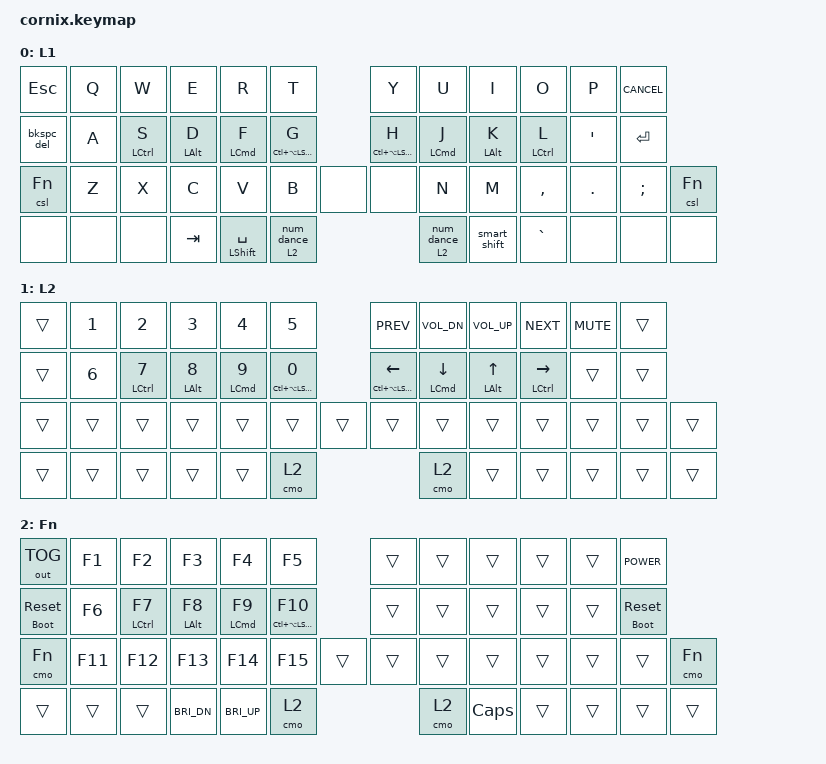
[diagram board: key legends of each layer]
/*
 * Copyright (c) 2020 The ZMK Contributors
 *
 * SPDX-License-Identifier: MIT
 *
 * Knucklehead keymap for Cornix 48-key keyboard (QWERTY)
 * Based on https://github.com/minusfive/knucklehead
 * Adapted for Cornix 4x12 layout
 */

#include <behaviors.dtsi>
#include <behaviors/num_word.dtsi>
#include <dt-bindings/zmk/keys.h>
#include <dt-bindings/zmk/bt.h>
#include <dt-bindings/zmk/outputs.h>

// Layer definitions
#define L1 0
#define L2 1
#define Fn 2

// Key position groups for home row mods (48 keys: 4 rows x 12 cols)
// Row 0: 0-11, Row 1: 12-23, Row 2: 24-35, Row 3: 36-47
#define KEYS_L 0 1 2 3 4 5 12 13 14 15 16 17 24 25 26 27 28 29 36 37 38 39 40 41
#define KEYS_R 6 7 8 9 10 11 18 19 20 21 22 23 30 31 32 33 34 35 42 43 44 45 46 47
#define THUMBS 38 39 40 41 42 43 44 45

// Timing settings
#define TAPPING_TERM_MS 280
#define QUICK_TAP_MS 175
#define REQUIRE_PRIOR_IDLE_MS 150
#define COMBO_TERM_DEFAULT 30
#define COMBO_QUICK_TAP_MS 100

// Meh key (Ctrl+Alt+Shift)
#define MEH LC(LA(LSHFT))

// ==================== BEHAVIORS ====================
&mt {
  flavor = "balanced";
  tapping-term-ms = <TAPPING_TERM_MS>;
  quick-tap-ms = <QUICK_TAP_MS>;
  require-prior-idle-ms = <REQUIRE_PRIOR_IDLE_MS>;
};

&lt {
  flavor = "balanced";
  tapping-term-ms = <TAPPING_TERM_MS>;
  quick-tap-ms = <QUICK_TAP_MS>;
  require-prior-idle-ms = <REQUIRE_PRIOR_IDLE_MS>;
};

&sk {
  quick-release;
};

&num_word {
  continue-list = <BSPC DEL DOT COMMA PLUS MINUS STAR FSLH EQUAL RSHFT LEFT RIGHT UP DOWN>;
};

/ {
  behaviors {
    hrml: hrm_left {
      bindings = <&kp>, <&kp>;
      compatible = "zmk,behavior-hold-tap";
      flavor = "balanced";
      hold-trigger-key-positions = <KEYS_R THUMBS>;
      hold-trigger-on-release;
      tapping-term-ms = <TAPPING_TERM_MS>;
      quick-tap-ms = <QUICK_TAP_MS>;
      require-prior-idle-ms = <REQUIRE_PRIOR_IDLE_MS>;
      #binding-cells = <2>;
    };

    hrmr: hrm_right {
      bindings = <&kp>, <&kp>;
      compatible = "zmk,behavior-hold-tap";
      flavor = "balanced";
      hold-trigger-key-positions = <KEYS_L THUMBS>;
      hold-trigger-on-release;
      tapping-term-ms = <TAPPING_TERM_MS>;
      quick-tap-ms = <QUICK_TAP_MS>;
      require-prior-idle-ms = <REQUIRE_PRIOR_IDLE_MS>;
      #binding-cells = <2>;
    };

    smart_shift: smart_shift {
      compatible = "zmk,behavior-mod-morph";
      bindings = <&sk RSHFT>, <&caps_word>;
      mods = <(MOD_RSFT)>;
      #binding-cells = <0>;
    };

    smart_num: smart_num {
      compatible = "zmk,behavior-hold-tap";
      flavor = "balanced";
      tapping-term-ms = <TAPPING_TERM_MS>;
      bindings = <&mo>, <&num_dance>;
      #binding-cells = <2>;
    };

    num_dance: num_dance {
      compatible = "zmk,behavior-tap-dance";
      tapping-term-ms = <TAPPING_TERM_MS>;
      bindings = <&sl L2>, <&num_word L2>;
      #binding-cells = <0>;
    };

    bkspc_del: backspace_delete {
      compatible = "zmk,behavior-mod-morph";
      bindings = <&kp BACKSPACE>, <&kp DELETE>;
      mods = <(MOD_LSFT|MOD_RSFT)>;
      #binding-cells = <0>;
    };

    rst_boot: rst_boot {
      compatible = "zmk,behavior-hold-tap";
      #binding-cells = <2>;
      tapping-term-ms = <500>;
      flavor = "tap-preferred";
      bindings = <&bootloader>, <&sys_reset>;
    };
  };

  // ==================== MACROS ====================
  macros {
    lm: lm {
      wait-ms = <0>;
      tap-ms = <0>;
      compatible = "zmk,behavior-macro-two-param";
      #binding-cells = <2>;
      bindings = <&macro_param_1to1>,
        <&macro_press &mo MACRO_PLACEHOLDER>,
        <&macro_param_2to1>,
        <&macro_press &kp MACRO_PLACEHOLDER>,
        <&macro_pause_for_release>,
        <&macro_param_2to1>,
        <&macro_release &kp MACRO_PLACEHOLDER>,
        <&macro_param_1to1>,
        <&macro_release &mo MACRO_PLACEHOLDER>;
    };

    csl: clear_sl {
      wait-ms = <0>;
      tap-ms = <0>;
      compatible = "zmk,behavior-macro-one-param";
      #binding-cells = <1>;
      bindings = <&macro_tap &kp K_CANCEL>,
        <&macro_param_1to1>,
        <&macro_press &sl MACRO_PLACEHOLDER>,
        <&macro_pause_for_release>,
        <&macro_param_1to1>,
        <&macro_release &sl MACRO_PLACEHOLDER>;
    };

    cmo: clear_mo {
      wait-ms = <0>;
      tap-ms = <0>;
      compatible = "zmk,behavior-macro-one-param";
      #binding-cells = <1>;
      bindings = <&macro_tap &kp K_CANCEL>,
        <&macro_param_1to1>,
        <&macro_press &mo MACRO_PLACEHOLDER>,
        <&macro_pause_for_release>,
        <&macro_param_1to1>,
        <&macro_release &mo MACRO_PLACEHOLDER>;
    };
  };

  // ==================== COMBOS ====================
  #define COMBO(NAME, BINDINGS, KEYPOS, LAYERS, TERM, QUICKTAP) \
    combo_##NAME { \
      timeout-ms = <TERM>; \
      bindings = <BINDINGS>; \
      key-positions = <KEYPOS>; \
      layers = <LAYERS>; \
      require-prior-idle-ms = <QUICKTAP>; \
    };

  combos {
    compatible = "zmk,combos";

    // Symbols - Left hand (row 0-1 vertical combos)
    COMBO(excl, &kp EXCL, 1 13, L1 L2, COMBO_TERM_DEFAULT, COMBO_QUICK_TAP_MS)
    COMBO(at, &kp AT, 2 14, L1 L2, COMBO_TERM_DEFAULT, COMBO_QUICK_TAP_MS)
    COMBO(hash, &kp HASH, 3 15, L1 L2, COMBO_TERM_DEFAULT, COMBO_QUICK_TAP_MS)
    COMBO(dllr, &kp DLLR, 4 16, L1 L2, COMBO_TERM_DEFAULT, COMBO_QUICK_TAP_MS)
    COMBO(prcnt, &kp PRCNT, 5 17, L1 L2, COMBO_TERM_DEFAULT, COMBO_QUICK_TAP_MS)

    // Symbols - Right hand (row 0-1 vertical combos)
    COMBO(caret, &kp CARET, 6 18, L1 L2, COMBO_TERM_DEFAULT, COMBO_QUICK_TAP_MS)
    COMBO(amps, &kp AMPS, 7 19, L1 L2, COMBO_TERM_DEFAULT, COMBO_QUICK_TAP_MS)
    COMBO(astrk, &kp ASTRK, 8 20, L1 L2, COMBO_TERM_DEFAULT, COMBO_QUICK_TAP_MS)
    COMBO(lpar, &kp LPAR, 9 21, L1 L2, COMBO_TERM_DEFAULT, COMBO_QUICK_TAP_MS)
    COMBO(rpar, &kp RPAR, 10 22, L1 L2, COMBO_TERM_DEFAULT, COMBO_QUICK_TAP_MS)

    // More symbols (row 1 horizontal combos)
    COMBO(minus, &kp MINUS, 14 15, L1 L2, COMBO_TERM_DEFAULT, COMBO_QUICK_TAP_MS)
    COMBO(equal, &kp EQUAL, 15 16, L1 L2, COMBO_TERM_DEFAULT, COMBO_QUICK_TAP_MS)
    COMBO(fslh, &kp FSLH, 20 21, L1 L2, COMBO_TERM_DEFAULT, COMBO_QUICK_TAP_MS)
    COMBO(bslh, &kp BSLH, 21 22, L1 L2, COMBO_TERM_DEFAULT, COMBO_QUICK_TAP_MS)
    COMBO(lbkt, &kp LBKT, 26 27, L1 L2, COMBO_TERM_DEFAULT, COMBO_QUICK_TAP_MS)
    COMBO(rbkt, &kp RBKT, 27 28, L1 L2, COMBO_TERM_DEFAULT, COMBO_QUICK_TAP_MS)

    // Bluetooth - Fn layer only
    COMBO(bt_clear, &bt BT_CLR, 1 2 3 4, Fn, COMBO_TERM_DEFAULT, COMBO_QUICK_TAP_MS)
    COMBO(bt_0, &bt BT_SEL 0, 1 2, Fn, COMBO_TERM_DEFAULT, COMBO_QUICK_TAP_MS)
    COMBO(bt_1, &bt BT_SEL 1, 2 3, Fn, COMBO_TERM_DEFAULT, COMBO_QUICK_TAP_MS)
    COMBO(bt_2, &bt BT_SEL 2, 3 4, Fn, COMBO_TERM_DEFAULT, COMBO_QUICK_TAP_MS)
    COMBO(bt_3, &bt BT_SEL 3, 4 5, Fn, COMBO_TERM_DEFAULT, COMBO_QUICK_TAP_MS)
    COMBO(bt_4, &bt BT_SEL 4, 13 14, Fn, COMBO_TERM_DEFAULT, COMBO_QUICK_TAP_MS)

    // Media
    COMBO(play, &kp C_PP, 6 7, L1 L2 Fn, COMBO_TERM_DEFAULT, COMBO_QUICK_TAP_MS)
  };

  // ==================== KEYMAP ====================
  keymap {
    compatible = "zmk,keymap";

    // Layer 1: QWERTY (48 keys: 4 rows x 12 cols)
    qwerty_layer {
      display-name = "L1";
      bindings = <
// ╭───────────────┬───────────────┬───────────────┬───────────────┬───────────────┬───────────────╮   ╭───────────────┬───────────────┬───────────────┬───────────────┬───────────────┬───────────────╮
    &kp ESC         &kp Q           &kp W           &kp E           &kp R           &kp T               &kp Y           &kp U           &kp I           &kp O           &kp P           &kp K_CANCEL
// ├───────────────├───────────────┼───────────────┼───────────────┼───────────────┼───────────────┤   ├───────────────├───────────────┼───────────────┼───────────────┼───────────────┼───────────────┤
    &bkspc_del      &kp A           &hrml LCTRL S   &hrml LALT D    &hrml LCMD F    &hrml MEH G         &hrmr MEH H     &hrmr LCMD J    &hrmr LALT K    &hrmr LCTRL L   &kp SQT         &kp ENTER
// ├───────────────├───────────────┼───────────────┼───────────────┼───────────────┼───────────────┼───┼───┼───────────────┼───────────────┼───────────────┼───────────────┼───────────────┼───────────────┤
    &csl Fn         &kp Z           &kp X           &kp C           &kp V           &kp B       &none   &none   &kp N           &kp M           &kp COMMA       &kp DOT         &kp SEMICOLON   &csl Fn
// ╰───────────────┴───────────────┴───────────────┼───────────────┼───────────────┼───────────────┼───┴───┼───────────────┼───────────────┼───────────────┼───────────────┴───────────────┴───────────────╯
    &none           &none           &none           &kp TAB         &mt LSHFT SPACE &smart_num L2 0             &smart_num L2 0 &smart_shift    &kp GRAVE       &none           &none           &none
//                                                 ╰───────────────┴───────────────┴───────────────╯           ╰───────────────┴───────────────┴───────────────╯
      >;
    };

    // Layer 2: Numbers, Navigation, Media
    layer_2 {
      display-name = "L2";
      bindings = <
// ╭───────────────┬───────────────┬───────────────┬───────────────┬───────────────┬───────────────╮   ╭───────────────┬───────────────┬───────────────┬───────────────┬───────────────┬───────────────╮
    &trans          &kp N1          &kp N2          &kp N3          &kp N4          &kp N5              &kp C_PREV      &kp C_VOL_DN    &kp C_VOL_UP    &kp C_NEXT      &kp C_MUTE      &trans
// ├───────────────├───────────────┼───────────────┼───────────────┼───────────────┼───────────────┤   ├───────────────├───────────────┼───────────────┼───────────────┼───────────────┼───────────────┤
    &trans          &kp N6          &hrml LCTRL N7  &hrml LALT N8   &hrml LCMD N9   &hrml MEH N0        &hrmr MEH LEFT  &hrmr LCMD DOWN &hrmr LALT UP   &hrmr LCTRL RIGHT &trans        &trans
// ├───────────────├───────────────┼───────────────┼───────────────┼───────────────┼───────────────┼───┼───┼───────────────┼───────────────┼───────────────┼───────────────┼───────────────┼───────────────┤
    &trans          &trans          &trans          &trans          &trans          &trans      &trans  &trans  &trans          &trans          &trans          &trans          &trans          &trans
// ╰───────────────┴───────────────┴───────────────┼───────────────┼───────────────┼───────────────┼───┴───┼───────────────┼───────────────┼───────────────┼───────────────┴───────────────┴───────────────╯
    &trans          &trans          &trans          &trans          &trans          &cmo L2                     &cmo L2         &trans          &trans          &trans          &trans          &trans
//                                                 ╰───────────────┴───────────────┴───────────────╯           ╰───────────────┴───────────────┴───────────────╯
      >;
    };

    // Layer Fn: Function keys, System
    fn_layer {
      display-name = "Fn";
      bindings = <
// ╭───────────────┬───────────────┬───────────────┬───────────────┬───────────────┬───────────────╮   ╭───────────────┬───────────────┬───────────────┬───────────────┬───────────────┬───────────────╮
    &out OUT_TOG    &kp F1          &kp F2          &kp F3          &kp F4          &kp F5              &trans          &trans          &trans          &trans          &trans          &kp C_POWER
// ├───────────────├───────────────┼───────────────┼───────────────┼───────────────┼───────────────┤   ├───────────────├───────────────┼───────────────┼───────────────┼───────────────┼───────────────┤
    &rst_boot 0 0   &kp F6          &hrml LCTRL F7  &hrml LALT F8   &hrml LCMD F9   &hrml MEH F10       &trans          &trans          &trans          &trans          &trans          &rst_boot 0 0
// ├───────────────├───────────────┼───────────────┼───────────────┼───────────────┼───────────────┼───┼───┼───────────────┼───────────────┼───────────────┼───────────────┼───────────────┼───────────────┤
    &cmo Fn         &kp F11         &kp F12         &kp F13         &kp F14         &kp F15     &trans  &trans  &trans          &trans          &trans          &trans          &trans          &cmo Fn
// ╰───────────────┴───────────────┴───────────────┼───────────────┼───────────────┼───────────────┼───┴───┼───────────────┼───────────────┼───────────────┼───────────────┴───────────────┴───────────────╯
    &trans          &trans          &trans          &kp C_BRI_DN    &kp C_BRI_UP    &cmo L2                     &cmo L2         &kp CAPSLOCK    &trans          &trans          &trans          &trans
//                                                 ╰───────────────┴───────────────┴───────────────╯           ╰───────────────┴───────────────┴───────────────╯
      >;
    };
  };
};
